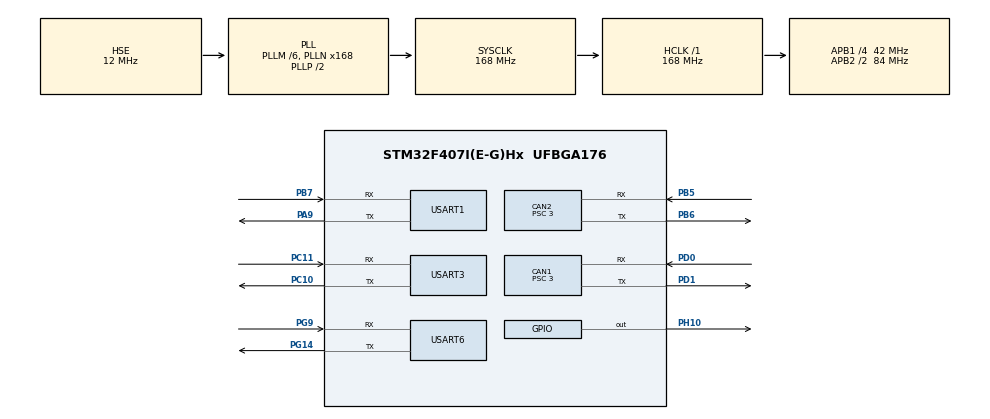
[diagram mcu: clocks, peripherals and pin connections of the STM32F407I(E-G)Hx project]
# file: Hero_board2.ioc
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CAN1.BS1=CAN_BS1_10TQ
CAN1.BS2=CAN_BS2_3TQ
CAN1.CalculateBaudRate=1000000
CAN1.CalculateTimeBit=1000
CAN1.CalculateTimeQuantum=71.42857142857143
CAN1.NART=ENABLE
CAN1.Prescaler=3
CAN1.TXFP=ENABLE
CAN2.BS1=CAN_BS1_10TQ
CAN2.BS2=CAN_BS2_3TQ
CAN2.CalculateBaudRate=1000000
CAN2.CalculateTimeBit=1000
CAN2.CalculateTimeQuantum=71.42857142857143
CAN2.NART=ENABLE
CAN2.Prescaler=3
CAN2.TXFP=ENABLE
Dma.Request0=USART1_TX
Dma.Request1=USART1_RX
Dma.Request2=USART3_TX
Dma.Request3=USART3_RX
Dma.Request4=USART6_RX
Dma.Request5=USART6_TX
Dma.USART1_RX.1.Direction=DMA_PERIPH_TO_MEMORY
Dma.USART1_RX.1.FIFOMode=DMA_FIFOMODE_DISABLE
Dma.USART1_RX.1.Instance=DMA2_Stream5
Dma.USART1_RX.1.MemDataAlignment=DMA_MDATAALIGN_BYTE
Dma.USART1_RX.1.MemInc=DMA_MINC_ENABLE
Dma.USART1_RX.1.Mode=DMA_CIRCULAR
Dma.USART1_RX.1.PeriphDataAlignment=DMA_PDATAALIGN_BYTE
Dma.USART1_RX.1.PeriphInc=DMA_PINC_DISABLE
Dma.USART1_RX.1.Priority=DMA_PRIORITY_LOW
Dma.USART1_TX.0.Direction=DMA_MEMORY_TO_PERIPH
Dma.USART1_TX.0.FIFOMode=DMA_FIFOMODE_DISABLE
Dma.USART1_TX.0.Instance=DMA2_Stream7
Dma.USART1_TX.0.MemDataAlignment=DMA_MDATAALIGN_BYTE
Dma.USART1_TX.0.MemInc=DMA_MINC_ENABLE
Dma.USART1_TX.0.Mode=DMA_CIRCULAR
Dma.USART1_TX.0.PeriphDataAlignment=DMA_PDATAALIGN_BYTE
Dma.USART1_TX.0.PeriphInc=DMA_PINC_DISABLE
Dma.USART1_TX.0.Priority=DMA_PRIORITY_LOW
Dma.USART3_RX.3.Direction=DMA_PERIPH_TO_MEMORY
Dma.USART3_RX.3.FIFOMode=DMA_FIFOMODE_DISABLE
Dma.USART3_RX.3.Instance=DMA1_Stream1
Dma.USART3_RX.3.MemDataAlignment=DMA_MDATAALIGN_BYTE
Dma.USART3_RX.3.MemInc=DMA_MINC_ENABLE
Dma.USART3_RX.3.Mode=DMA_CIRCULAR
Dma.USART3_RX.3.PeriphDataAlignment=DMA_PDATAALIGN_BYTE
Dma.USART3_RX.3.PeriphInc=DMA_PINC_DISABLE
Dma.USART3_RX.3.Priority=DMA_PRIORITY_LOW
Dma.USART3_TX.2.Direction=DMA_MEMORY_TO_PERIPH
Dma.USART3_TX.2.FIFOMode=DMA_FIFOMODE_DISABLE
Dma.USART3_TX.2.Instance=DMA1_Stream3
Dma.USART3_TX.2.MemDataAlignment=DMA_MDATAALIGN_BYTE
Dma.USART3_TX.2.MemInc=DMA_MINC_ENABLE
Dma.USART3_TX.2.Mode=DMA_CIRCULAR
Dma.USART3_TX.2.PeriphDataAlignment=DMA_PDATAALIGN_BYTE
Dma.USART3_TX.2.PeriphInc=DMA_PINC_DISABLE
Dma.USART3_TX.2.Priority=DMA_PRIORITY_LOW
Dma.USART6_RX.4.Direction=DMA_PERIPH_TO_MEMORY
Dma.USART6_RX.4.FIFOMode=DMA_FIFOMODE_DISABLE
Dma.USART6_RX.4.Instance=DMA2_Stream2
Dma.USART6_RX.4.MemDataAlignment=DMA_MDATAALIGN_BYTE
Dma.USART6_RX.4.MemInc=DMA_MINC_ENABLE
Dma.USART6_RX.4.Mode=DMA_CIRCULAR
Dma.USART6_RX.4.PeriphDataAlignment=DMA_PDATAALIGN_BYTE
Dma.USART6_RX.4.PeriphInc=DMA_PINC_DISABLE
Dma.USART6_RX.4.Priority=DMA_PRIORITY_LOW
Dma.USART6_TX.5.Direction=DMA_MEMORY_TO_PERIPH
Dma.USART6_TX.5.FIFOMode=DMA_FIFOMODE_DISABLE
Dma.USART6_TX.5.Instance=DMA2_Stream6
Dma.USART6_TX.5.MemDataAlignment=DMA_MDATAALIGN_BYTE
Dma.USART6_TX.5.MemInc=DMA_MINC_ENABLE
Dma.USART6_TX.5.Mode=DMA_CIRCULAR
Dma.USART6_TX.5.PeriphDataAlignment=DMA_PDATAALIGN_BYTE
Dma.USART6_TX.5.PeriphInc=DMA_PINC_DISABLE
Dma.USART6_TX.5.Priority=DMA_PRIORITY_LOW
FREERTOS.INCLUDE_vTaskDelayUntil=1
FREERTOS.INCLUDE_xTaskGetHandle=1
FREERTOS.Tasks01=defaultTask,-3,128,StartDefaultTask,Default,NULL,Dynamic,NULL,NULL;StartTask,3,128,ALL_Init,Default,NULL,Dynamic,NULL,NULL
Mcu.Family=STM32F4
Mcu.Name=STM32F407I(E-G)Hx
Mcu.Package=UFBGA176
NVIC.CAN1_RX0_IRQn=true\:5\:0\:false\:false\:true\:true\:true\:true\:true
NVIC.CAN1_TX_IRQn=true\:5\:0\:false\:false\:true\:true\:true\:true\:true
NVIC.CAN2_RX0_IRQn=true\:5\:0\:false\:false\:true\:true\:true\:true\:true
NVIC.CAN2_TX_IRQn=true\:5\:0\:false\:false\:true\:true\:true\:true\:true
NVIC.DMA1_Stream1_IRQn=true\:5\:0\:false\:false\:true\:true\:false\:true\:true
NVIC.DMA1_Stream3_IRQn=true\:5\:0\:false\:false\:true\:true\:false\:true\:true
NVIC.DMA2_Stream2_IRQn=true\:5\:0\:false\:false\:true\:true\:false\:true\:true
NVIC.DMA2_Stream5_IRQn=true\:5\:0\:false\:false\:true\:false\:false\:true\:true
NVIC.DMA2_Stream6_IRQn=true\:5\:0\:false\:false\:true\:true\:false\:true\:true
NVIC.DMA2_Stream7_IRQn=true\:5\:0\:false\:false\:true\:true\:false\:true\:true
NVIC.PriorityGroup=NVIC_PRIORITYGROUP_4
NVIC.TIM1_UP_TIM10_IRQn=true\:15\:0\:false\:false\:true\:false\:false\:true\:true
NVIC.TIM8_UP_TIM13_IRQn=true\:5\:0\:false\:false\:true\:true\:true\:true\:true
NVIC.TimeBase=TIM1_UP_TIM10_IRQn
NVIC.TimeBaseIP=TIM1
NVIC.USART1_IRQn=true\:5\:0\:false\:false\:true\:true\:false\:true\:true
NVIC.USART3_IRQn=true\:5\:0\:false\:false\:true\:true\:true\:true\:true
NVIC.USART6_IRQn=true\:5\:0\:false\:false\:true\:true\:true\:true\:true
PA13.Mode=Serial_Wire
PA13.Signal=SYS_JTMS-SWDIO
PA14.Mode=Serial_Wire
PA14.Signal=SYS_JTCK-SWCLK
PA9.Mode=Asynchronous
PA9.Signal=USART1_TX
PB5.Mode=CAN_Activate
PB5.Signal=CAN2_RX
PB6.Mode=CAN_Activate
PB6.Signal=CAN2_TX
PB7.Mode=Asynchronous
PB7.Signal=USART1_RX
PC10.Mode=Asynchronous
PC10.Signal=USART3_TX
PC11.Mode=Asynchronous
PC11.Signal=USART3_RX
PD0.Mode=CAN_Activate
PD0.Signal=CAN1_RX
PD1.Mode=CAN_Activate
PD1.Signal=CAN1_TX
PG14.Mode=Asynchronous
PG14.Signal=USART6_TX
PG9.Mode=Asynchronous
PG9.Signal=USART6_RX
PH0-OSC_IN.Mode=HSE-External-Oscillator
PH0-OSC_IN.Signal=RCC_OSC_IN
PH1-OSC_OUT.Mode=HSE-External-Oscillator
PH1-OSC_OUT.Signal=RCC_OSC_OUT
PH10.Signal=GPIO_Output
ProjectManager.HeapSize=0x200
ProjectManager.StackSize=0x400
ProjectManager.TargetToolchain=MDK-ARM V5.32
RCC.48MHZClocksFreq_Value=84000000
RCC.AHBFreq_Value=168000000
RCC.APB1CLKDivider=RCC_HCLK_DIV4
RCC.APB1Freq_Value=42000000
RCC.APB1TimFreq_Value=84000000
RCC.APB2CLKDivider=RCC_HCLK_DIV2
RCC.APB2Freq_Value=84000000
RCC.APB2TimFreq_Value=168000000
RCC.CortexFreq_Value=168000000
RCC.HCLKFreq_Value=168000000
RCC.HSE_VALUE=12000000
RCC.HSI_VALUE=16000000
RCC.LSE_VALUE=32768
RCC.PLLM=6
RCC.PLLN=168
RCC.PLLSourceVirtual=RCC_PLLSOURCE_HSE
RCC.SYSCLKFreq_VALUE=168000000
RCC.SYSCLKSource=RCC_SYSCLKSOURCE_PLLCLK
RCC.VCOOutputFreq_Value=336000000
TIM8.AutoReloadPreload=TIM_AUTORELOAD_PRELOAD_ENABLE
TIM8.Period=9999
TIM8.Prescaler=16799
USART1.VirtualMode=VM_ASYNC
USART3.VirtualMode=VM_ASYNC
USART6.VirtualMode=VM_ASYNC
VP_FREERTOS_VS_CMSIS_V1.Mode=CMSIS_V1
VP_RTC_VS_RTC_Activate.Mode=RTC_Enabled
VP_SYS_VS_tim1.Mode=TIM1
VP_TIM8_VS_ClockSourceINT.Mode=Internal
board=custom

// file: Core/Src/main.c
/* USER CODE BEGIN Header */
/**
 ******************************************************************************
 * @file           : main.c
 * @brief          : Main program body
 ******************************************************************************
 * @attention
 *
 * Copyright (c) 2026 STMicroelectronics.
 * All rights reserved.
 *
 * This software is licensed under terms that can be found in the LICENSE file
 * in the root directory of this software component.
 * If no LICENSE file comes with this software, it is provided AS-IS.
 *
 ******************************************************************************
 */
/* USER CODE END Header */
#include "main.h"
#include "cmsis_os.h"
#include "can.h"
#include "dma.h"
#include "rtc.h"
#include "tim.h"
#include "usart.h"
#include "gpio.h"

/* USER CODE BEGIN Includes */
#include "DM_Motor.h"
/* USER CODE END Includes */

void SystemClock_Config(void);
void MX_FREERTOS_Init(void);

int main(void)
{

  /* MCU Configuration--------------------------------------------------------*/

  /* Reset of all peripherals, Initializes the Flash interface and the Systick. */
  HAL_Init();

  /* Configure the system clock */
  SystemClock_Config();

  /* Initialize all configured peripherals */
  MX_GPIO_Init();
  MX_DMA_Init();
  MX_CAN1_Init();
  MX_CAN2_Init();
  MX_USART1_UART_Init();
  MX_USART3_UART_Init();
  MX_USART6_UART_Init();
  MX_RTC_Init();
  MX_TIM8_Init();

  /* Call init function for freertos objects (in cmsis_os2.c) */
  MX_FREERTOS_Init();

  /* Start scheduler */
  osKernelStart();

  /* We should never get here as control is now taken by the scheduler */

  /* Infinite loop */
  while (1)
  {

  }
}

void SystemClock_Config(void)
{
  RCC_OscInitTypeDef RCC_OscInitStruct = {0};
  RCC_ClkInitTypeDef RCC_ClkInitStruct = {0};

  /** Configure the main internal regulator output voltage
   */
  __HAL_RCC_PWR_CLK_ENABLE();
  __HAL_PWR_VOLTAGESCALING_CONFIG(PWR_REGULATOR_VOLTAGE_SCALE1);

  /** Initializes the RCC Oscillators according to the specified parameters
   * in the RCC_OscInitTypeDef structure.
   */
  RCC_OscInitStruct.OscillatorType = RCC_OSCILLATORTYPE_LSI | RCC_OSCILLATORTYPE_HSE;
  RCC_OscInitStruct.HSEState = RCC_HSE_ON;
  RCC_OscInitStruct.LSIState = RCC_LSI_ON;
  RCC_OscInitStruct.PLL.PLLState = RCC_PLL_ON;
  RCC_OscInitStruct.PLL.PLLSource = RCC_PLLSOURCE_HSE;
  RCC_OscInitStruct.PLL.PLLM = 6;
  RCC_OscInitStruct.PLL.PLLN = 168;
  RCC_OscInitStruct.PLL.PLLP = RCC_PLLP_DIV2;
  RCC_OscInitStruct.PLL.PLLQ = 4;
  if (HAL_RCC_OscConfig(&RCC_OscInitStruct) != HAL_OK)
  {
    Error_Handler();
  }

  /** Initializes the CPU, AHB and APB buses clocks
   */
  RCC_ClkInitStruct.ClockType = RCC_CLOCKTYPE_HCLK | RCC_CLOCKTYPE_SYSCLK | RCC_CLOCKTYPE_PCLK1 | RCC_CLOCKTYPE_PCLK2;
  RCC_ClkInitStruct.SYSCLKSource = RCC_SYSCLKSOURCE_PLLCLK;
  RCC_ClkInitStruct.AHBCLKDivider = RCC_SYSCLK_DIV1;
  RCC_ClkInitStruct.APB1CLKDivider = RCC_HCLK_DIV4;
  RCC_ClkInitStruct.APB2CLKDivider = RCC_HCLK_DIV2;

  if (HAL_RCC_ClockConfig(&RCC_ClkInitStruct, FLASH_LATENCY_5) != HAL_OK)
  {
    Error_Handler();
  }
}

void HAL_TIM_PeriodElapsedCallback(TIM_HandleTypeDef *htim)
{
  if (htim->Instance == TIM1)
  {
    HAL_IncTick();
  }
}

void Error_Handler(void)
{
  __disable_irq();
  while (1)
  {
  }
}

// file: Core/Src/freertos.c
/* USER CODE BEGIN Header */
/**
 ******************************************************************************
 * File Name          : freertos.c
 * Description        : Code for freertos applications
 ******************************************************************************
 * @attention
 *
 * Copyright (c) 2026 STMicroelectronics.
 * All rights reserved.
 *
 * This software is licensed under terms that can be found in the LICENSE file
 * in the root directory of this software component.
 * If no LICENSE file comes with this software, it is provided AS-IS.
 *
 ******************************************************************************
 */
/* USER CODE END Header */

#include "FreeRTOS.h"
#include "task.h"
#include "main.h"
#include "cmsis_os.h"

/* USER CODE BEGIN Includes */
#include "typedef.h"
#include "Task_DM_onlineCheck.h"
#include "Task_RobotControl.h"
/* USER CODE END Includes */

/* USER CODE BEGIN Variables */
/***********Queues************/
QueueHandle_t CAN1_ReceiveHandle; // can1接收队列
QueueHandle_t CAN2_ReceiveHandle; // can2接收队列
QueueHandle_t CAN_SendHandle;     // can发送队列

/***********Tasks************/
osThreadId Task_Can1MsgRecHandle;    // can1消息接收任务句柄
osThreadId Task_Can2MsgRecHandle;    // can2消息接收任务句柄
osThreadId Task_CanSendHandle;       // can发送任务句柄
osThreadId Task_DMOnlineCheckHandle; // DM电机掉线检测任务句柄
osThreadId Robot_Control_Handle;     // 机器人控制任务句柄
/* USER CODE END Variables */
osThreadId defaultTaskHandle;
osThreadId StartTaskHandle;

/* USER CODE BEGIN FunctionPrototypes */
extern void Can1Receives(void const *argument);
extern void Can2Receives(void const *argument);
extern void AllCanSend(void const *argument);
extern void DM_onlineCheck(void const *argument);
extern void Robot_Control(void const *argument);
/* USER CODE END FunctionPrototypes */

void StartDefaultTask(void const *argument);
void ALL_Init(void const *argument);

void MX_FREERTOS_Init(void); /* (MISRA C 2004 rule 8.1) */

/* GetIdleTaskMemory prototype (linked to static allocation support) */
void vApplicationGetIdleTaskMemory(StaticTask_t **ppxIdleTaskTCBBuffer, StackType_t **ppxIdleTaskStackBuffer, uint32_t *pulIdleTaskStackSize);

/* USER CODE BEGIN GET_IDLE_TASK_MEMORY */
static StaticTask_t xIdleTaskTCBBuffer;
static StackType_t xIdleStack[configMINIMAL_STACK_SIZE];

void vApplicationGetIdleTaskMemory(StaticTask_t **ppxIdleTaskTCBBuffer, StackType_t **ppxIdleTaskStackBuffer, uint32_t *pulIdleTaskStackSize)
{
  *ppxIdleTaskTCBBuffer = &xIdleTaskTCBBuffer;
  *ppxIdleTaskStackBuffer = &xIdleStack[0];
  *pulIdleTaskStackSize = configMINIMAL_STACK_SIZE;
  /* place for user code */
}
/* USER CODE END GET_IDLE_TASK_MEMORY */

void MX_FREERTOS_Init(void)
{

  /* USER CODE BEGIN RTOS_QUEUES */
  /* add queues, ... */
  /* definition and creation of CAN1_Receive */
  CAN1_ReceiveHandle = xQueueCreate(16, sizeof(Can_Export_Data_t));

  /* definition and creation of CAN2_Receive */
  CAN2_ReceiveHandle = xQueueCreate(16, sizeof(Can_Export_Data_t));

  /* definition and creation of CAN_Send */
  CAN_SendHandle = xQueueCreate(32, sizeof(Can_Send_Data_t));
  /* USER CODE END RTOS_QUEUES */

  /* Create the thread(s) */
  /* definition and creation of defaultTask */
  osThreadDef(defaultTask, StartDefaultTask, osPriorityIdle, 0, 128);
  defaultTaskHandle = osThreadCreate(osThread(defaultTask), NULL);

  /* definition and creation of StartTask */
  osThreadDef(StartTask, ALL_Init, osPriorityRealtime, 0, 128);
  StartTaskHandle = osThreadCreate(osThread(StartTask), NULL);

  /* USER CODE BEGIN RTOS_THREADS */
  /* add threads, ... */
  /* definition and creation of Can1ReceiveTask */
  osThreadDef(Can1_ReceiveTask, Can1Receives, osPriorityAboveNormal, 0, 128);
  Task_Can1MsgRecHandle = osThreadCreate(osThread(Can1_ReceiveTask), NULL);

  /* definition and creation of Can1ReceiveTask */
  osThreadDef(Can2_ReceiveTask, Can2Receives, osPriorityAboveNormal, 0, 128);
  Task_Can2MsgRecHandle = osThreadCreate(osThread(Can2_ReceiveTask), NULL);

  /* definition and creation of CanSendTask */
  osThreadDef(Can_SendTask, AllCanSend, osPriorityHigh, 0, 256);
  Task_CanSendHandle = osThreadCreate(osThread(Can_SendTask), NULL);

  /* definition and creation of DMOnlineCheckTask */
  osThreadDef(DM_OnlineCheckTask, DM_onlineCheck, osPriorityRealtime, 0, 128);
  Task_DMOnlineCheckHandle = osThreadCreate(osThread(DM_OnlineCheckTask), NULL);

  /* definition and creation of Robot_Control_Task */
  osThreadDef(Robot_Control_Task, Robot_Control, osPriorityHigh, 0, 512);
  Robot_Control_Handle = osThreadCreate(osThread(Robot_Control_Task), NULL);

  /* USER CODE END RTOS_THREADS */
}

void StartDefaultTask(void const *argument)
{
  for (;;)
  {
    osDelay(1);
  }
}

void ALL_Init(void const *argument)
{
  /* USER CODE BEGIN ALL_Init */
  /* Infinite loop */
  for (;;)
  {
    taskENTER_CRITICAL();
    HAL_GPIO_WritePin(GPIOH, GPIO_PIN_10, GPIO_PIN_SET);
    /*********初始化两个CAN控制协议，使用中断模式*********/
    CAN_IT_Init(&hcan1, Can1_Type);
    CAN_IT_Init(&hcan2, Can2_Type);

    vTaskDelete(StartTaskHandle);
    taskEXIT_CRITICAL();
    osDelay(1);
  }
  /* USER CODE END ALL_Init */
}
